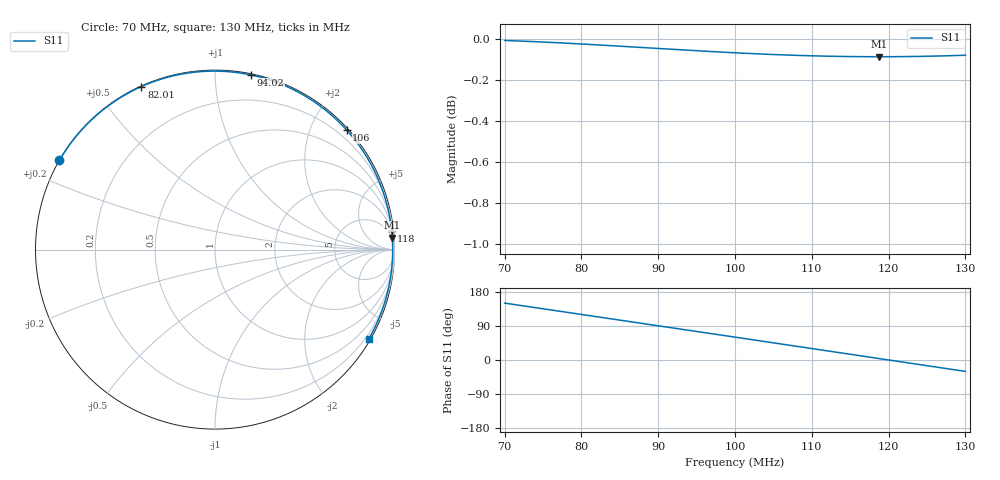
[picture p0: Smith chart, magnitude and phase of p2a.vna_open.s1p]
# Hz S RI R 50
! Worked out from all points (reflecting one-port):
!   10000 points, 70 MHz to 130 MHz, reference 50 ohm
!   lowest |S11| = -0.1 dB at 118.8 MHz (marker M1), VSWR 198.78, Z = 216 + j1.45e+03 ohm
!   phase of S11 starts at 150 deg and turns -180 deg over the sweep
!   S11 on the Smith chart (normalised r, x): 70 MHz: 0.00, +0.27; 82.01 MHz: 0.00, +0.65; 94.02 MHz: 0.01, +1.23; 106 MHz: 0.03, +2.59; 118 MHz: 2, +19; 130 MHz: 0.07, -3.72
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7e7  -0.8665 0.4972
7.148815e7  -0.8252 0.5627
7.351635e7  -0.761 0.6463
7.750075e7  -0.6109 0.7887
7.978098e7  -0.5127 0.8552
8.20132e7  -0.4096 0.9085
8.50015e7  -0.2633 0.9604
8.688569e7  -0.1675 0.9812
8.875788e7  -0.0708 0.9924
9.063006e7  0.0265 0.9941
9.250225e7  0.1235 0.9862
9.40204e7  0.2014 0.9729
9.69847e7  0.3492 0.9294
1.00003e8  0.491 0.8622
1.029493e8  0.6175 0.7758
1.060216e8  0.7337 0.6662
1.075038e8  0.7831 0.607
1.113141e8  0.8879 0.4388
1.131683e8  0.9262 0.3502
1.150045e8  0.9556 0.2592
1.180168e8  0.9844 0.1051
1.187549e8  0.9877 0.0668
1.206271e8  0.9895 -0.0307
1.225053e8  0.9817 -0.1283
1.242994e8  0.9654 -0.2203
1.261116e8  0.9401 -0.3113
1.288779e8  0.8853 -0.4446
1.3e8  0.8577 -0.4961
